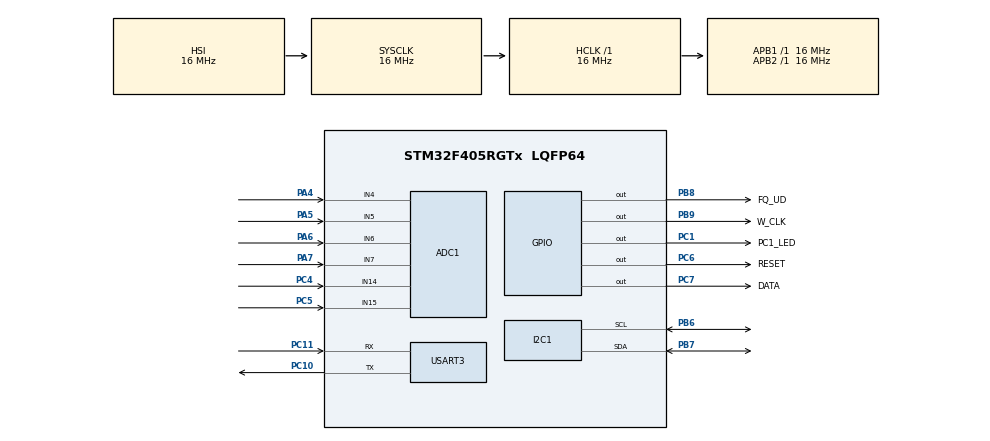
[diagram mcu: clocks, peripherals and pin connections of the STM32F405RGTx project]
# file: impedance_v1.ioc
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ADC1.Channel-0\#ChannelRegularConversion=ADC_CHANNEL_4
ADC1.Channel-1\#ChannelRegularConversion=ADC_CHANNEL_5
ADC1.Channel-2\#ChannelRegularConversion=ADC_CHANNEL_6
ADC1.ContinuousConvMode=ENABLE
ADC1.InjNumberOfConversion=0
ADC1.NbrOfConversion=3
ADC1.NbrOfConversionFlag=1
ADC1.Rank-0\#ChannelRegularConversion=1
ADC1.Rank-1\#ChannelRegularConversion=2
ADC1.Rank-2\#ChannelRegularConversion=3
ADC1.SamplingTime-0\#ChannelRegularConversion=ADC_SAMPLETIME_3CYCLES
ADC1.SamplingTime-1\#ChannelRegularConversion=ADC_SAMPLETIME_3CYCLES
ADC1.SamplingTime-2\#ChannelRegularConversion=ADC_SAMPLETIME_3CYCLES
ADC1.master=1
Mcu.Family=STM32F4
Mcu.Name=STM32F405RGTx
Mcu.Package=LQFP64
NVIC.PriorityGroup=NVIC_PRIORITYGROUP_4
PA13.Mode=Trace_Asynchronous_SW
PA13.Signal=SYS_JTMS-SWDIO
PA14.Mode=Trace_Asynchronous_SW
PA14.Signal=SYS_JTCK-SWCLK
PA4.Signal=ADCx_IN4
PA5.Signal=ADCx_IN5
PA6.Signal=ADCx_IN6
PA7.Signal=ADCx_IN7
PB3.Mode=Trace_Asynchronous_SW
PB3.Signal=SYS_JTDO-SWO
PB6.Mode=I2C
PB6.Signal=I2C1_SCL
PB7.Mode=I2C
PB7.Signal=I2C1_SDA
PB8.GPIO_Label=FQ_UD
PB8.Signal=GPIO_Output
PB9.GPIO_Label=W_CLK
PB9.Signal=GPIO_Output
PC1.GPIO_Label=PC1_LED
PC1.Signal=GPIO_Output
PC10.Mode=Asynchronous
PC10.Signal=USART3_TX
PC11.Mode=Asynchronous
PC11.Signal=USART3_RX
PC14-OSC32_IN.Mode=LSE-External-Oscillator
PC14-OSC32_IN.Signal=RCC_OSC32_IN
PC15-OSC32_OUT.Mode=LSE-External-Oscillator
PC15-OSC32_OUT.Signal=RCC_OSC32_OUT
PC4.Signal=ADCx_IN14
PC5.Signal=ADCx_IN15
PC6.GPIO_Label=RESET
PC6.Signal=GPIO_Output
PC7.GPIO_Label=DATA
PC7.Signal=GPIO_Output
PH0-OSC_IN.Mode=HSE-External-Oscillator
PH0-OSC_IN.Signal=RCC_OSC_IN
PH1-OSC_OUT.Mode=HSE-External-Oscillator
PH1-OSC_OUT.Signal=RCC_OSC_OUT
ProjectManager.HeapSize=0x200
ProjectManager.StackSize=0x400
ProjectManager.TargetToolchain=STM32CubeIDE
RCC.AHBFreq_Value=16000000
RCC.APB1Freq_Value=16000000
RCC.APB2Freq_Value=16000000
RCC.CortexFreq_Value=16000000
RCC.HSE_VALUE=25000000
RCC.HSI_VALUE=16000000
RCC.SYSCLKFreq_VALUE=16000000
RCC.VCOOutputFreq_Value=192000000
SH.ADCx_IN14.0=ADC1_IN14,IN14
SH.ADCx_IN15.0=ADC1_IN15,IN15
SH.ADCx_IN4.0=ADC1_IN4,IN4
SH.ADCx_IN5.0=ADC1_IN5,IN5
SH.ADCx_IN6.0=ADC1_IN6,IN6
SH.ADCx_IN7.0=ADC1_IN7,IN7
USART3.VirtualMode=VM_ASYNC
board=custom

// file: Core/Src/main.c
/* USER CODE BEGIN Header */
/**
  ******************************************************************************
  * @file           : main.c
  * @brief          : Main program body
  ******************************************************************************
  * @attention
  *
  * Copyright (c) 2024 STMicroelectronics.
  * All rights reserved.
  *
  * This software is licensed under terms that can be found in the LICENSE file
  * in the root directory of this software component.
  * If no LICENSE file comes with this software, it is provided AS-IS.
  *
  ******************************************************************************
  */
/* USER CODE END Header */
#include "main.h"

/* USER CODE BEGIN Includes */
#include "string.h"
#include <stdio.h>
/* USER CODE END Includes */

/* USER CODE BEGIN PD */
#define pulseHigh(GPIO_PORT, GPIO_PIN)      \
    do {                                    \
        HAL_GPIO_WritePin(GPIO_PORT, GPIO_PIN, GPIO_PIN_SET);   /* Set High */ \
        HAL_GPIO_WritePin(GPIO_PORT, GPIO_PIN, GPIO_PIN_RESET); /* Set Low */  \
    } while(0)

/* USER CODE END PD */

ADC_HandleTypeDef hadc1;

I2C_HandleTypeDef hi2c1;

UART_HandleTypeDef huart3;

void SystemClock_Config(void);
static void MX_GPIO_Init(void);
static void MX_ADC1_Init(void);
static void MX_USART3_UART_Init(void);
static void MX_I2C1_Init(void);
/* USER CODE BEGIN PFP */
void tfr_byte(uint8_t data);
void sendFrequency(double frequency);
void setup();
void poll_adc_values();
void trns_adc_via_uart();
/* USER CODE END PFP */

/* USER CODE BEGIN 0 */

// Log Sweep Parameter f(1KHz to 9KHz)
long unsigned int start_freq_1 = 1e3; // start frequency (Hz)
long unsigned int stop_freq_1 = 9e3; // stop frequency (Hz) (N.B. Don't sweep over 60MHz and at 25MHz)
long unsigned int freq_step_1 = 1e3; // frequency step size (Hz)

// Frequency sweeping parameters (10KHz to 100KHz)
long unsigned int start_freq_2 = 10e3; // start frequency (Hz)
long unsigned int stop_freq_2 = 100e3; // stop frequency (Hz) (N.B. Don't sweep over 60MHz and at 25MHz)
long unsigned int freq_step_2 = 10e3; // frequency step size (Hz)

// Frequency sweeping parameters (100KHZ to 1000KHz)
long unsigned int start_freq_3 = 100e3; // start frequency (Hz)

long unsigned int stop_freq_3 = 1000e3; // stop frequency (Hz) (N.B. Don't sweep over 60MHz and at 25MHz)

long unsigned int freq_step_3 = 100e3; // frequency step size (Hz)
long unsigned int freq; // frequency variable for sweep
// long unsigned int freq = 40000000; // set inital frequency (40 MHz)

// values for impedance
uint32_t gain_v1 = 0;   // store adc values from gain1
uint32_t phase_v1 = 0;  // store adc value from phase1
uint32_t ecg1 = 0;	    // store ecg_value
char uart_buffer[100];

/*
 * @brief setup no arguments
 * Initialize DDS sensor
 * Toggle LED
 * return None
 */
void setup(){

	// Initialize the AD9851 module.
	pulseHigh(RESET_GPIO_Port, RESET_Pin);
	pulseHigh(FQ_UD_GPIO_Port, FQ_UD_Pin);
	pulseHigh(DATA_GPIO_Port, DATA_Pin);

	// Toggle the LED on PC1
	for(int i=0; i<=10; i++){
	  HAL_GPIO_WritePin(GPIOC, PC1_LED_Pin, GPIO_PIN_SET);
	  HAL_Delay(100); // wait for 100ms
	  HAL_GPIO_WritePin(GPIOC, PC1_LED_Pin, GPIO_PIN_RESET);
	  HAL_Delay(100); // wait for 100ms
	}

}

/* USER CODE END 0 */

int main(void)
{
  /* USER CODE BEGIN 1 */
	char msg[] = "Hello, world";

  /* USER CODE END 1 */

  /* MCU Configuration--------------------------------------------------------*/

  /* Reset of all peripherals, Initializes the Flash interface and the Systick. */
  HAL_Init();

  /* Configure the system clock */
  SystemClock_Config();

  /* Initialize all configured peripherals */
  MX_GPIO_Init();
  MX_ADC1_Init();
  MX_USART3_UART_Init();
  MX_I2C1_Init();
  /* USER CODE BEGIN 2 */

  /*Init LED on PC1 and DDS*/
  setup();

  /* USER CODE END 2 */

  /* Infinite loop */
  /* USER CODE BEGIN WHILE */
  while (1)
  {

	  /*
	  // (1KHz to 9Khz)
	  for(freq=start_freq_1; freq <= stop_freq_1; freq+=freq_step_1){
		  sendFrequency(freq);
		  poll_adc_values();
		  trns_adc_via_uart();
		  HAL_Delay(30); // 30 ms delay
		}

	  // for (10 KHz to 100 KHz)
	  for(freq=start_freq_2; freq <= stop_freq_2; freq+=freq_step_2){
	    sendFrequency(freq);
		  poll_adc_values();
		  trns_adc_via_uart();
	    HAL_Delay(30); // 30 ms delay
	  }

	  // for (100Khz to 1MHz)
	   for(freq=start_freq_3; freq <= stop_freq_3; freq+=freq_step_3){
	      sendFrequency(freq);
	      // read inputs
		  poll_adc_values();
		  trns_adc_via_uart();
	      HAL_Delay(30); // 30 ms delay
	    }

	   */
//	    HAL_UART_Transmit(&huart3, (uint8_t*)msg, strlen(msg), HAL_MAX_DELAY);

    /* USER CODE END WHILE */

  }
}

void SystemClock_Config(void)
{
  RCC_OscInitTypeDef RCC_OscInitStruct = {0};
  RCC_ClkInitTypeDef RCC_ClkInitStruct = {0};

  /** Configure the main internal regulator output voltage
  */
  __HAL_RCC_PWR_CLK_ENABLE();
  __HAL_PWR_VOLTAGESCALING_CONFIG(PWR_REGULATOR_VOLTAGE_SCALE1);

  /** Initializes the RCC Oscillators according to the specified parameters
  * in the RCC_OscInitTypeDef structure.
  */
  RCC_OscInitStruct.OscillatorType = RCC_OSCILLATORTYPE_HSI;
  RCC_OscInitStruct.HSIState = RCC_HSI_ON;
  RCC_OscInitStruct.HSICalibrationValue = RCC_HSICALIBRATION_DEFAULT;
  RCC_OscInitStruct.PLL.PLLState = RCC_PLL_NONE;
  if (HAL_RCC_OscConfig(&RCC_OscInitStruct) != HAL_OK)
  {
    Error_Handler();
  }

  /** Initializes the CPU, AHB and APB buses clocks
  */
  RCC_ClkInitStruct.ClockType = RCC_CLOCKTYPE_HCLK|RCC_CLOCKTYPE_SYSCLK
                              |RCC_CLOCKTYPE_PCLK1|RCC_CLOCKTYPE_PCLK2;
  RCC_ClkInitStruct.SYSCLKSource = RCC_SYSCLKSOURCE_HSI;
  RCC_ClkInitStruct.AHBCLKDivider = RCC_SYSCLK_DIV1;
  RCC_ClkInitStruct.APB1CLKDivider = RCC_HCLK_DIV1;
  RCC_ClkInitStruct.APB2CLKDivider = RCC_HCLK_DIV1;

  if (HAL_RCC_ClockConfig(&RCC_ClkInitStruct, FLASH_LATENCY_0) != HAL_OK)
  {
    Error_Handler();
  }
}

static void MX_ADC1_Init(void)
{

  ADC_ChannelConfTypeDef sConfig = {0};

  /** Configure the global features of the ADC (Clock, Resolution, Data Alignment and number of conversion)
  */
  hadc1.Instance = ADC1;
  hadc1.Init.ClockPrescaler = ADC_CLOCK_SYNC_PCLK_DIV2;
  hadc1.Init.Resolution = ADC_RESOLUTION_12B;
  hadc1.Init.ScanConvMode = ENABLE;
  hadc1.Init.ContinuousConvMode = ENABLE;
  hadc1.Init.DiscontinuousConvMode = DISABLE;
  hadc1.Init.ExternalTrigConvEdge = ADC_EXTERNALTRIGCONVEDGE_NONE;
  hadc1.Init.ExternalTrigConv = ADC_SOFTWARE_START;
  hadc1.Init.DataAlign = ADC_DATAALIGN_RIGHT;
  hadc1.Init.NbrOfConversion = 3;
  hadc1.Init.DMAContinuousRequests = DISABLE;
  hadc1.Init.EOCSelection = ADC_EOC_SINGLE_CONV;
  if (HAL_ADC_Init(&hadc1) != HAL_OK)
  {
    Error_Handler();
  }

  /** Configure for the selected ADC regular channel its corresponding rank in the sequencer and its sample time.
  */
  sConfig.Channel = ADC_CHANNEL_4;
  sConfig.Rank = 1;
  sConfig.SamplingTime = ADC_SAMPLETIME_3CYCLES;
  if (HAL_ADC_ConfigChannel(&hadc1, &sConfig) != HAL_OK)
  {
    Error_Handler();
  }

  /** Configure for the selected ADC regular channel its corresponding rank in the sequencer and its sample time.
  */
  sConfig.Channel = ADC_CHANNEL_5;
  sConfig.Rank = 2;
  if (HAL_ADC_ConfigChannel(&hadc1, &sConfig) != HAL_OK)
  {
    Error_Handler();
  }

  /** Configure for the selected ADC regular channel its corresponding rank in the sequencer and its sample time.
  */
  sConfig.Channel = ADC_CHANNEL_6;
  sConfig.Rank = 3;
  if (HAL_ADC_ConfigChannel(&hadc1, &sConfig) != HAL_OK)
  {
    Error_Handler();
  }

}

static void MX_I2C1_Init(void)
{

  hi2c1.Instance = I2C1;
  hi2c1.Init.ClockSpeed = 100000;
  hi2c1.Init.DutyCycle = I2C_DUTYCYCLE_2;
  hi2c1.Init.OwnAddress1 = 0;
  hi2c1.Init.AddressingMode = I2C_ADDRESSINGMODE_7BIT;
  hi2c1.Init.DualAddressMode = I2C_DUALADDRESS_DISABLE;
  hi2c1.Init.OwnAddress2 = 0;
  hi2c1.Init.GeneralCallMode = I2C_GENERALCALL_DISABLE;
  hi2c1.Init.NoStretchMode = I2C_NOSTRETCH_DISABLE;
  if (HAL_I2C_Init(&hi2c1) != HAL_OK)
  {
    Error_Handler();
  }

}

static void MX_USART3_UART_Init(void)
{

  huart3.Instance = USART3;
  huart3.Init.BaudRate = 115200;
  huart3.Init.WordLength = UART_WORDLENGTH_8B;
  huart3.Init.StopBits = UART_STOPBITS_1;
  huart3.Init.Parity = UART_PARITY_NONE;
  huart3.Init.Mode = UART_MODE_TX_RX;
  huart3.Init.HwFlowCtl = UART_HWCONTROL_NONE;
  huart3.Init.OverSampling = UART_OVERSAMPLING_16;
  if (HAL_UART_Init(&huart3) != HAL_OK)
  {
    Error_Handler();
  }

}

static void MX_GPIO_Init(void)
{
  GPIO_InitTypeDef GPIO_InitStruct = {0};

  /* GPIO Ports Clock Enable */
  __HAL_RCC_GPIOC_CLK_ENABLE();
  __HAL_RCC_GPIOH_CLK_ENABLE();
  __HAL_RCC_GPIOA_CLK_ENABLE();
  __HAL_RCC_GPIOB_CLK_ENABLE();

  /*Configure GPIO pin Output Level */
  HAL_GPIO_WritePin(GPIOC, PC1_LED_Pin|RESET_Pin|DATA_Pin, GPIO_PIN_RESET);

  /*Configure GPIO pin Output Level */
  HAL_GPIO_WritePin(GPIOB, FQ_UD_Pin|W_CLK_Pin, GPIO_PIN_RESET);

  /*Configure GPIO pins : PC1_LED_Pin RESET_Pin DATA_Pin */
  GPIO_InitStruct.Pin = PC1_LED_Pin|RESET_Pin|DATA_Pin;
  GPIO_InitStruct.Mode = GPIO_MODE_OUTPUT_PP;
  GPIO_InitStruct.Pull = GPIO_NOPULL;
  GPIO_InitStruct.Speed = GPIO_SPEED_FREQ_LOW;
  HAL_GPIO_Init(GPIOC, &GPIO_InitStruct);

  /*Configure GPIO pins : FQ_UD_Pin W_CLK_Pin */
  GPIO_InitStruct.Pin = FQ_UD_Pin|W_CLK_Pin;
  GPIO_InitStruct.Mode = GPIO_MODE_OUTPUT_PP;
  GPIO_InitStruct.Pull = GPIO_NOPULL;
  GPIO_InitStruct.Speed = GPIO_SPEED_FREQ_LOW;
  HAL_GPIO_Init(GPIOB, &GPIO_InitStruct);

}

/* USER CODE BEGIN 4 */

// define functions
void tfr_byte(uint8_t data){
	for(int i=0; i<8; i++, data >>= 1){
		HAL_GPIO_WritePin(DATA_GPIO_Port, DATA_Pin, data & 0x01);
		pulseHigh(W_CLK_GPIO_Port, W_CLK_Pin); // after each bit sent, CLK is pulsed high
	}
}

/*
 * @brief SendFrequency
 * @parameters: frequency
 */
void sendFrequency(double frequency){
	 int32_t freq1 = frequency * 4294967296/AD9851_CLOCK; // note 180 MHz clock on 9851
	  for(int b = 0; b<4; b++, freq1 >>= 8){
	    tfr_byte(freq1 & 0xFF);
	  }
	  // Final control byte: zero phase, power down disable, 6 x multiplier enbale bit for 30 MHz reference clk
	  //tfr_byte(0x00); // to disengage the internal clock mulitplier in case of using higher clock e.g. 125MHZ
	  tfr_byte(0x01);
	  pulseHigh(FQ_UD_GPIO_Port, FQ_UD_Pin); // Done! should see output
}

void poll_adc_values(){

	// conversion for PA4
	HAL_ADC_Start(&hadc1);
	HAL_ADC_PollForConversion(&hadc1, HAL_MAX_DELAY); // wait for conversion
	gain_v1 = HAL_ADC_GetValue(&hadc1); // get the value from channel PA4

	// conversion for PA5
	HAL_ADC_Start(&hadc1);
	HAL_ADC_PollForConversion(&hadc1, HAL_MAX_DELAY); // wait for conversion
	phase_v1 = HAL_ADC_GetValue(&hadc1); // get the value from channel PA4

	// conversion for PA6
	HAL_ADC_Start(&hadc1);
	HAL_ADC_PollForConversion(&hadc1, HAL_MAX_DELAY); // wait for conversion
	ecg1 = HAL_ADC_GetValue(&hadc1); // get the value from channel PA4

	//HAL_Delay(100); // Delay for a 100 millisecond

}

void trns_adc_via_uart(){
    snprintf(uart_buffer, sizeof(uart_buffer), "ADC1: %lu, ADC2: %lu, ECG1: %lu\r\n", gain_v1, phase_v1, ecg1);
    // Transmit the data via UART
    HAL_UART_Transmit(&huart3, (uint8_t*)uart_buffer, strlen(uart_buffer), HAL_MAX_DELAY);

}

/* USER CODE END 4 */

void Error_Handler(void)
{
  __disable_irq();
  while (1)
  {
  }
}
